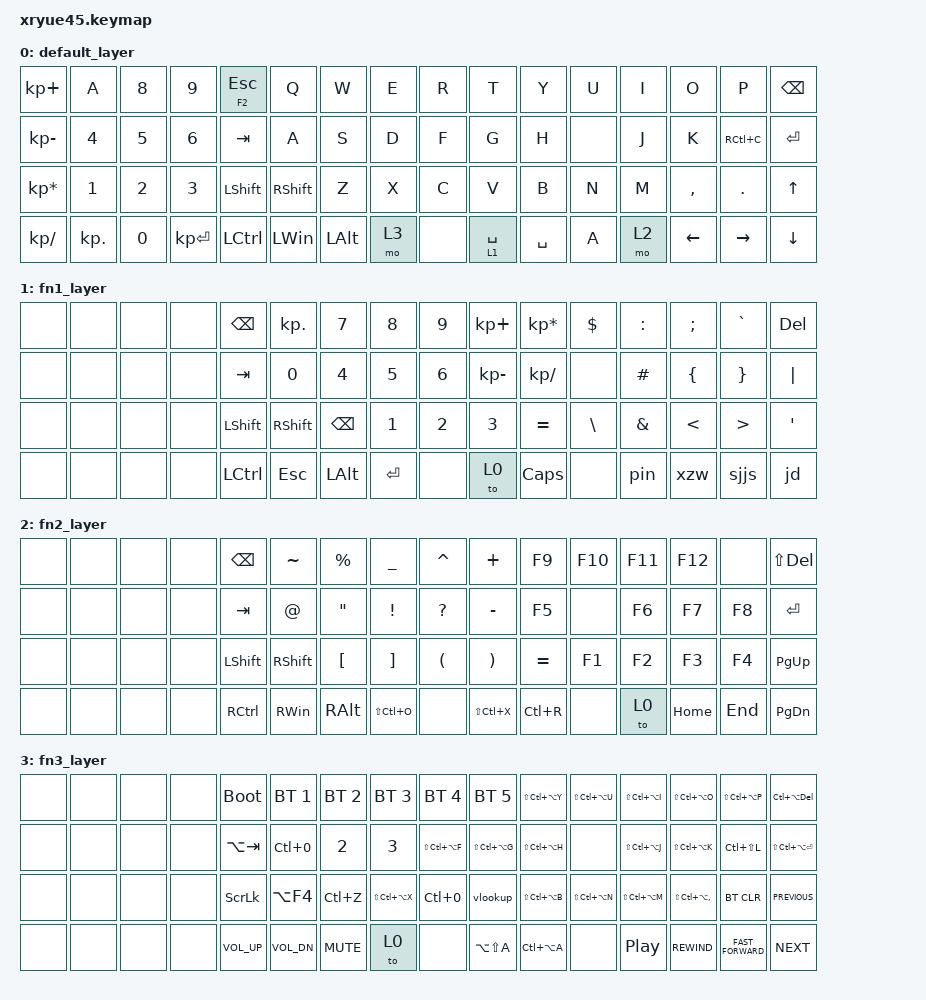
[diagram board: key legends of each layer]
/*
 * Copyright (c) 2020 The ZMK Contributors
 *
 * SPDX-License-Identifier: MIT
 */

#include <behaviors.dtsi>
#include <dt-bindings/zmk/bt.h>
#include <dt-bindings/zmk/keys.h>

/ {
    macros {
        pin: pin {
            compatible = "zmk,behavior-macro";
            #binding-cells = <0>;
            bindings = <&kp N1 &kp N2 &kp N3 &kp N1 &kp N2 &kp N3>;
        };

        xzw: xzw {
            compatible = "zmk,behavior-macro";
            #binding-cells = <0>;
            bindings =
                <&macro_tap>,
                <&kp X &kp Z &kp W>,
                <&macro_press>,
                <&kp LSHFT>,
                <&macro_tap>,
                <&kp X &kp Z &kp W>,
                <&macro_release>,
                <&kp LSHFT>,
                <&macro_tap>,
                <&kp N1 &kp N9 &kp N9 &kp N1 &kp EXCL>;
        };

        jd: jd {
            compatible = "zmk,behavior-macro";
            #binding-cells = <0>;
            bindings =
                <&macro_tap>,
                <&kp J &kp D>,
                <&macro_press>,
                <&kp LSHFT>,
                <&macro_tap>,
                <&kp W &kp L>,
                <&macro_release>,
                <&kp LSHFT>,
                <&macro_tap>,
                <&kp AT &kp O &kp P &kp S &kp N6 &kp N1 &kp N8>;
        };

        sjjs: sjjs {
            compatible = "zmk,behavior-macro";
            #binding-cells = <0>;
            bindings = <&kp N1 &kp N9 &kp N9 &kp N3 &kp N1 &kp N8>;
            label = "SJJS";
        };

        vlookup: vlookup {
            compatible = "zmk,behavior-macro";
            #binding-cells = <0>;
            bindings = <&kp EQUAL &kp LS(V) &kp LS(L) &kp LS(O) &kp LS(O) &kp LS(K) &kp LS(U) &kp LS(P) &kp LPAR>;
            label = "VLOOKUP";
        };
    };

    combos {
        compatible = "zmk,combos";

        combo_CAPS {
            #timeout-ms = <5>;
            key-positions = <23 24>;
            bindings = <&kp CAPS>;
        };

        combo_ctrlc {
            key-positions = <4 5>;
            bindings = <&kp LC(C)>;
        };

        combo_f5 {
            key-positions = <61 62>;
            bindings = <&kp F5>;
        };

        combo_f12 {
            key-positions = <47 63>;
            bindings = <&kp F12>;
        };

        combo_ctrlv {
            bindings = <&kp LC(V)>;
            key-positions = <5 6>;
        };
    };

    keymap0: keymap {
        compatible = "zmk,keymap";

        default_layer {
            bindings = <
&kp KP_PLUS      &kp A       &kp N8  &kp N9        &mt F2 ESC  &kp Q      &kp W     &kp E  &kp R  &kp T        &kp Y      &kp U  &kp I  &kp O      &kp P      &kp BSPC
&kp KP_MINUS     &kp N4      &kp N5  &kp N6        &kp TAB     &kp A      &kp S     &kp D  &kp F  &kp G        &kp H      &none  &kp J  &kp K      &kp RC(C)  &kp ENTER
&kp KP_MULTIPLY  &kp N1      &kp N2  &kp N3        &kp LSHFT   &kp RSHFT  &kp Z     &kp X  &kp C  &kp V        &kp B      &kp N  &kp M  &kp COMMA  &kp DOT    &kp UP
&kp KP_SLASH     &kp KP_DOT  &kp N0  &kp KP_ENTER  &kp LCTRL   &kp LWIN   &kp LALT  &mo 3  &none  &lt 1 SPACE  &kp SPACE  &kp A  &mo 2  &kp LEFT   &kp RIGHT  &kp DOWN
            >;
        };

        fn1_layer {
            bindings = <
&none  &none  &none  &none  &kp BSPC   &kp KP_DOT  &kp N7    &kp N8     &kp N9  &kp KP_PLUS   &kp KP_MULTIPLY  &kp DLLR  &kp COLON  &kp SEMI  &kp GRAVE  &kp DEL
&none  &none  &none  &none  &kp TAB    &kp N0      &kp N4    &kp N5     &kp N6  &kp KP_MINUS  &kp KP_SLASH     &none     &kp HASH   &kp LBRC  &kp RBRC   &kp PIPE
&none  &none  &none  &none  &kp LSHFT  &kp RSHFT   &kp BSPC  &kp N1     &kp N2  &kp N3        &kp EQUAL        &kp BSLH  &kp AMPS   &kp LT    &kp GT     &kp SQT
&none  &none  &none  &none  &kp LCTRL  &kp ESC     &kp LALT  &kp ENTER  &none   &to 0         &kp CAPS         &none     &pin       &xzw      &sjjs      &jd
            >;
        };

        fn2_layer {
            bindings = <
&none  &none  &none  &none  &kp BSPC   &kp TILDE  &kp PRCNT  &kp UNDER      &kp CARET  &kp PLUS       &kp F9     &kp F10  &kp F11  &kp F12   &none    &kp LS(DEL)
&none  &none  &none  &none  &kp TAB    &kp AT     &kp DQT    &kp EXCL       &kp QMARK  &kp MINUS      &kp F5     &none    &kp F6   &kp F7    &kp F8   &kp ENTER
&none  &none  &none  &none  &kp LSHFT  &kp RSHFT  &kp LBKT   &kp RBKT       &kp LPAR   &kp RPAR       &kp EQUAL  &kp F1   &kp F2   &kp F3    &kp F4   &kp PG_UP
&none  &none  &none  &none  &kp RCTRL  &kp RWIN   &kp RALT   &kp LS(LC(O))  &none      &kp LS(LC(X))  &kp LC(R)  &none    &to 0    &kp HOME  &kp END  &kp PG_DN
            >;
        };

        fn3_layer {
            bindings = <
&none  &none  &none  &none  &bootloader   &bt BT_SEL 1  &bt BT_SEL 2  &bt BT_SEL 3       &bt BT_SEL 4       &bt BT_SEL 5       &kp LS(LC(LA(Y)))  &kp LS(LC(LA(U)))  &kp LS(LC(LA(I)))  &kp LS(LC(LA(O)))      &kp LS(LC(LA(P)))   &kp LC(LA(DEL))
&none  &none  &none  &none  &kp LA(TAB)   &kp LC(N0)    &kp N2        &kp N3             &kp LS(LC(LA(F)))  &kp LS(LC(LA(G)))  &kp LS(LC(LA(H)))  &none              &kp LS(LC(LA(J)))  &kp LS(LC(LA(K)))      &kp LC(LS(L))       &kp LS(LC(LA(ENTER)))
&none  &none  &none  &none  &kp SLCK      &kp LA(F4)    &kp LC(Z)     &kp LS(LC(LA(X)))  &kp LC(N0)         &vlookup           &kp LS(LC(LA(B)))  &kp LS(LC(LA(N)))  &kp LS(LC(LA(M)))  &kp LS(LC(LA(COMMA)))  &bt BT_CLR          &kp C_PREVIOUS
&none  &none  &none  &none  &kp C_VOL_UP  &kp C_VOL_DN  &kp C_MUTE    &to 0              &none              &kp LA(LS(A))      &kp LC(LA(A))      &none              &kp C_PP           &kp C_REWIND           &kp C_FAST_FORWARD  &kp C_NEXT
            >;
        };
    };
};
